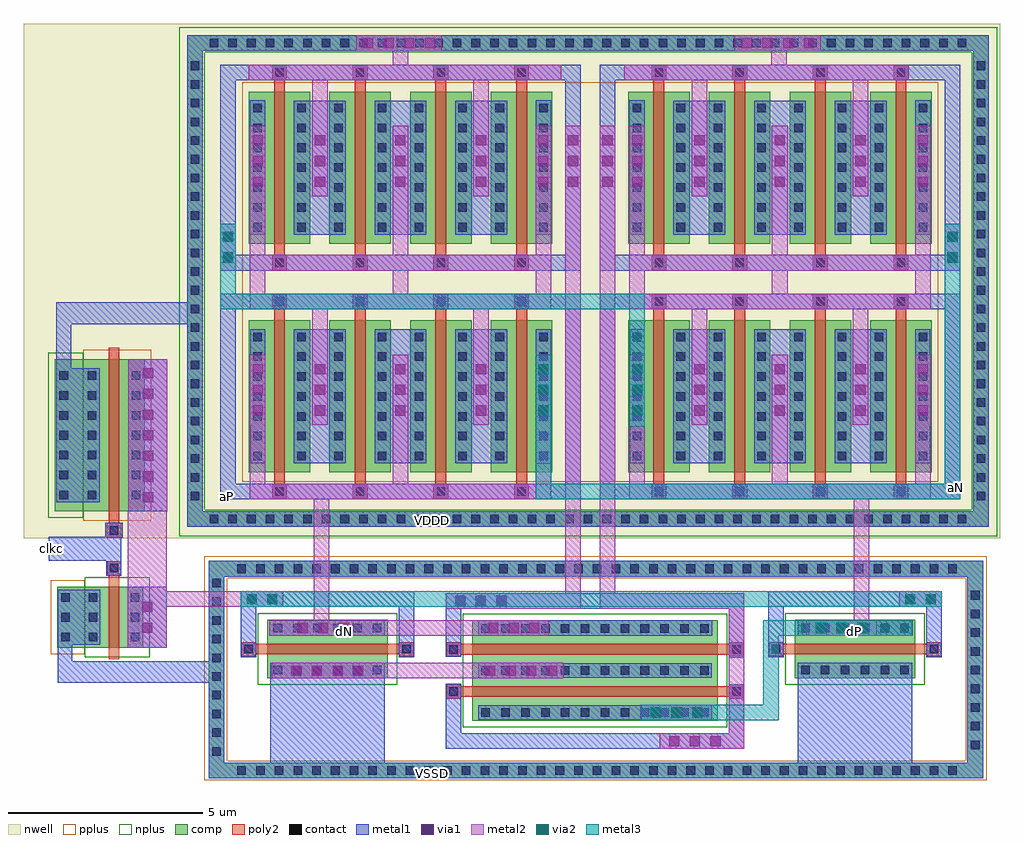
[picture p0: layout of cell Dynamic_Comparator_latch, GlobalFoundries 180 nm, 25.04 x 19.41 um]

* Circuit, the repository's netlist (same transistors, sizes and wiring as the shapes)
** sch_path: /home/gmaranhao/Desktop/Juan_bracolin/PICO_contest/Dynamic_Comparator/xschem/Dynamic_Comparator_latch.sch
.subckt Dynamic_Comparator_latch VDDD VSSD dN clkc dP aP aN
*.PININFO VDDD:B VSSD:B clkc:I aP:I aN:I dN:B dP:B
M5[1] X dP VDDD VDDD pfet_03v3 L=0.28u W=3.9u nf=1 m=1
M5[2] X dP VDDD VDDD pfet_03v3 L=0.28u W=3.9u nf=1 m=1
M5[3] X dP VDDD VDDD pfet_03v3 L=0.28u W=3.9u nf=1 m=1
M5[4] X dP VDDD VDDD pfet_03v3 L=0.28u W=3.9u nf=1 m=1
M6[1] Y dN VDDD VDDD pfet_03v3 L=0.28u W=3.9u nf=1 m=1
M6[2] Y dN VDDD VDDD pfet_03v3 L=0.28u W=3.9u nf=1 m=1
M6[3] Y dN VDDD VDDD pfet_03v3 L=0.28u W=3.9u nf=1 m=1
M6[4] Y dN VDDD VDDD pfet_03v3 L=0.28u W=3.9u nf=1 m=1
M7[1] dN aP X VDDD pfet_03v3 L=0.28u W=3.9u nf=1 m=1
M7[2] dN aP X VDDD pfet_03v3 L=0.28u W=3.9u nf=1 m=1
M7[3] dN aP X VDDD pfet_03v3 L=0.28u W=3.9u nf=1 m=1
M7[4] dN aP X VDDD pfet_03v3 L=0.28u W=3.9u nf=1 m=1
M8[1] dP aN Y VDDD pfet_03v3 L=0.28u W=3.9u nf=1 m=1
M8[2] dP aN Y VDDD pfet_03v3 L=0.28u W=3.9u nf=1 m=1
M8[3] dP aN Y VDDD pfet_03v3 L=0.28u W=3.9u nf=1 m=1
M8[4] dP aN Y VDDD pfet_03v3 L=0.28u W=3.9u nf=1 m=1
M9 dN dP VSSD VSSD nfet_03v3 L=0.28u W=6.3u nf=1 m=1
M10 dP dN VSSD VSSD nfet_03v3 L=0.28u W=6.3u nf=1 m=1
M11 dN n_clkc VSSD VSSD nfet_03v3 L=0.28u W=3.1u nf=1 m=1
M12 dP n_clkc VSSD VSSD nfet_03v3 L=0.28u W=3.1u nf=1 m=1
x1 VDDD VSSD n_clkc clkc Dynamic_Comparator_inv_1x
.ends

* expanding   symbol:  PICO_contest/Dynamic_Comparator/xschem/Dynamic_Comparator_inv_1x.sym # of pins=4
** sym_path: /home/gmaranhao/Desktop/Juan_bracolin/PICO_contest/Dynamic_Comparator/xschem/Dynamic_Comparator_inv_1x.sym
** sch_path: /home/gmaranhao/Desktop/Juan_bracolin/PICO_contest/Dynamic_Comparator/xschem/Dynamic_Comparator_inv_1x.sch
.subckt Dynamic_Comparator_inv_1x VDDD VSSD OUT IN
*.PININFO VDDD:B VSSD:B IN:I OUT:B
M1 OUT IN VSSD VSSD nfet_03v3 L=0.28u W=1.56u nf=1 m=1
M2 OUT IN VDDD VDDD pfet_03v3 L=0.28u W=3.9u nf=1 m=1
.ends

.end

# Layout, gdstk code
from math import pi, radians
import gdstk
lib = gdstk.Library(unit=1e-6, precision=1e-09)
def R(c, l, rs):  # rectangles x0, y0, x1, y1
    for r in rs: c.add(gdstk.rectangle(r[:2], r[2:], *l))
def A(c, l, x, y, w, h, nx, ny, dx, dy):  # array of equal rectangles
    R(c, l, [(x+i*dx, y+j*dy, x+i*dx+w, y+j*dy+h) for i in range(nx) for j in range(ny)])
nwell = (21, 0)
comp = (22, 0)
poly2 = (30, 0)
pplus = (31, 0)
nplus = (32, 0)
contact = (33, 0)
metal1 = (34, 0)
via1 = (35, 0)
metal2 = (36, 0)
via2 = (38, 0)
metal3 = (42, 0)

pfet = lib.new_cell('pfet')
R(pfet, nwell, [(-0.9,-0.44,1.56,4.34)])
R(pfet, comp, [(-0.46,0,0,3.9), (0,0,0.66,3.9), (0.66,0,1.12,3.9)])
R(pfet, poly2, [(0.14,-0.68,0.52,-0.3), (0.19,-0.3,0.47,4.2), (0.14,4.2,0.52,4.58)])
R(pfet, pplus, [(-0.63,-0.24,1.29,4.14)])
A(pfet, contact, -0.34, 0.31, 0.22, 0.22, 1, 7, 0, 0.51)
A(pfet, contact, 0.78, 0.31, 0.22, 0.22, 1, 7, 0, 0.51)
R(pfet, contact, [(0.22,-0.6,0.44,-0.38), (0.22,4.28,0.44,4.5)])
R(pfet, metal1, [(0.14,-0.681,0.52,-0.299), (-0.42,0.23,-0.04,3.67), (0.7,0.23,1.08,3.67), (0.14,4.199,0.52,4.581)])

via_dev_1 = lib.new_cell('via_dev$1')
R(via_dev_1, metal1, [(0,0,1.8,0.4)])
A(via_dev_1, via1, 0.24, 0.07, 0.26, 0.26, 3, 1, 0.53, 0)
R(via_dev_1, metal2, [(0,0,1.8,0.4)])

via_dev_4 = lib.new_cell('via_dev$4')
R(via_dev_4, metal1, [(0,0,1.8,0.4)])
A(via_dev_4, via1, 0.24, 0.07, 0.26, 0.26, 3, 1, 0.53, 0)
R(via_dev_4, metal2, [(0,0,1.8,0.4)])
A(via_dev_4, via2, 0.24, 0.07, 0.26, 0.26, 3, 1, 0.53, 0)
R(via_dev_4, metal3, [(0,0,1.8,0.4)])

nfet = lib.new_cell('nfet')
R(nfet, comp, [(-0.42,0,0,3.1), (0,0,0.66,3.1), (0.66,0,1.08,3.1)])
R(nfet, poly2, [(0.15,-0.66,0.51,-0.3), (0.19,-0.3,0.47,3.4), (0.15,3.4,0.51,3.76)])
R(nfet, nplus, [(-0.59,-0.24,1.25,3.34)])
A(nfet, contact, -0.32, 0.165, 0.22, 0.22, 1, 6, 0, 0.51)
A(nfet, contact, 0.76, 0.165, 0.22, 0.22, 1, 6, 0, 0.51)
R(nfet, contact, [(0.22,-0.59,0.44,-0.37), (0.22,3.47,0.44,3.69)])
R(nfet, metal1, [(0.14,-0.671,0.52,-0.289), (-0.4,0.085,-0.02,3.015), (0.68,0.085,1.06,3.015), (0.14,3.389,0.52,3.771)])

nfet_2 = lib.new_cell('nfet$2')
R(nfet_2, comp, [(-0.42,0,0,6.3), (0,0,0.66,6.3), (0.66,0,1.08,6.3)])
R(nfet_2, poly2, [(0.15,-0.66,0.51,-0.3), (0.19,-0.3,0.47,6.6), (0.15,6.6,0.51,6.96)])
R(nfet_2, nplus, [(-0.59,-0.24,1.25,6.54)])
A(nfet_2, contact, -0.32, 0.235, 0.22, 0.22, 1, 12, 0, 0.51)
A(nfet_2, contact, 0.76, 0.235, 0.22, 0.22, 1, 12, 0, 0.51)
R(nfet_2, contact, [(0.22,-0.59,0.44,-0.37), (0.22,6.67,0.44,6.89)])
R(nfet_2, metal1, [(0.14,-0.671,0.52,-0.289), (-0.4,0.155,-0.02,6.145), (0.68,0.155,1.06,6.145), (0.14,6.589,0.52,6.971)])

via_dev_2 = lib.new_cell('via_dev$2')
R(via_dev_2, metal1, [(0,0,0.4,1.8)])
A(via_dev_2, via1, 0.07, 0.24, 0.26, 0.26, 1, 3, 0, 0.53)
R(via_dev_2, metal2, [(0,0,0.4,1.8)])

via_dev_14 = lib.new_cell('via_dev$14')
R(via_dev_14, metal1, [(0,0,0.4,1.8)])
A(via_dev_14, via1, 0.07, 0.24, 0.26, 0.26, 1, 3, 0, 0.53)
R(via_dev_14, metal2, [(0,0,0.4,1.8)])
A(via_dev_14, via2, 0.07, 0.24, 0.26, 0.26, 1, 3, 0, 0.53)
R(via_dev_14, metal3, [(0,0,0.4,1.8)])

via_dev_13 = lib.new_cell('via_dev$13')
R(via_dev_13, comp, [(0,0,0.4,11.81)])
A(via_dev_13, contact, 0.09, 0.275, 0.22, 0.22, 1, 24, 0, 0.48)
R(via_dev_13, metal1, [(0,0,0.4,11.81)])

via_dev_5 = lib.new_cell('via_dev$5')
R(via_dev_5, comp, [(0,0,0.4,4.9)])
A(via_dev_5, contact, 0.09, 0.18, 0.22, 0.22, 1, 10, 0, 0.48)
R(via_dev_5, metal1, [(0,0,0.4,4.9)])

via_dev_3 = lib.new_cell('via_dev$3')
R(via_dev_3, comp, [(0,0,19,0.4)])
A(via_dev_3, contact, 0.27, 0.09, 0.22, 0.22, 39, 1, 0.48, 0)
R(via_dev_3, metal1, [(0,0,19,0.4)])

via_dev_10 = lib.new_cell('via_dev$10')
R(via_dev_10, comp, [(0,0,19.77,0.4)])
A(via_dev_10, contact, 0.175, 0.09, 0.22, 0.22, 41, 1, 0.48, 0)
R(via_dev_10, metal1, [(0,0,19.77,0.4)])

via_dev = lib.new_cell('via_dev')
R(via_dev, comp, [(0,0,0.4,4.75)])
A(via_dev, contact, 0.09, 0.345, 0.22, 0.22, 1, 9, 0, 0.48)
R(via_dev, metal1, [(0,0,0.4,4.75)])

via_dev_6 = lib.new_cell('via_dev$6')
R(via_dev_6, metal1, [(0,0,1.2,0.4)])
R(via_dev_6, via1, [(0.205,0.07,0.465,0.33), (0.735,0.07,0.995,0.33)])
R(via_dev_6, metal2, [(0,0,1.2,0.4)])
R(via_dev_6, via2, [(0.205,0.07,0.465,0.33), (0.735,0.07,0.995,0.33)])
R(via_dev_6, metal3, [(0,0,1.2,0.4)])

via_dev_8 = lib.new_cell('via_dev$8')
R(via_dev_8, metal1, [(0,0,0.4,2.2)])
A(via_dev_8, via1, 0.07, 0.175, 0.26, 0.26, 1, 4, 0, 0.53)
R(via_dev_8, metal2, [(0,0,0.4,2.2)])

pfet_1 = lib.new_cell('pfet$1')
R(pfet_1, nwell, [(-1.15,-0.69,2.54,4.59)])
R(pfet_1, comp, [(-0.46,0,0,3.9), (0,0,0.66,3.9), (0.66,0,1.12,3.9), (1.12,0,1.85,3.9)])
R(pfet_1, poly2, [(0.19,-0.3,0.47,4.2), (0.14,4.2,0.52,4.58)])
R(pfet_1, pplus, [(-0.63,-0.24,1.12,4.14)])
R(pfet_1, nplus, [(1.12,-0.17,2.02,4.07)])
A(pfet_1, contact, -0.34, 0.31, 0.22, 0.22, 1, 7, 0, 0.51)
A(pfet_1, contact, 0.78, 0.31, 0.22, 0.22, 1, 7, 0, 0.51)
A(pfet_1, contact, 1.51, 0.31, 0.22, 0.22, 1, 7, 0, 0.51)
R(pfet_1, contact, [(0.22,4.28,0.44,4.5)])
R(pfet_1, metal1, [(-0.42,0.23,-0.04,3.67), (0.7,0.23,1.08,3.67), (1.43,0.23,1.81,3.67), (0.14,4.199,0.52,4.581)])

nfet_3 = lib.new_cell('nfet$3')
R(nfet_3, comp, [(-0.42,0,0,1.56), (0,0,0.66,1.56), (0.66,0,1.08,1.56), (1.08,0,1.79,1.56)])
R(nfet_3, poly2, [(0.19,-0.3,0.47,1.86), (0.15,1.86,0.51,2.22)])
R(nfet_3, pplus, [(1.08,-0.17,1.96,1.73)])
R(nfet_3, nplus, [(-0.59,-0.24,1.08,1.8)])
A(nfet_3, contact, -0.32, 0.16, 0.22, 0.22, 1, 3, 0, 0.51)
A(nfet_3, contact, 0.76, 0.16, 0.22, 0.22, 1, 3, 0, 0.51)
A(nfet_3, contact, 1.47, 0.16, 0.22, 0.22, 1, 3, 0, 0.51)
R(nfet_3, contact, [(0.22,1.93,0.44,2.15)])
R(nfet_3, metal1, [(-0.4,0.08,-0.02,1.48), (0.68,0.08,1.06,1.48), (1.39,0.08,1.77,1.48), (0.14,1.849,0.52,2.231)])

via_dev_11 = lib.new_cell('via_dev$11')
R(via_dev_11, metal1, [(0,0,1,1.56)])
R(via_dev_11, via1, [(0.37,0.385,0.63,0.645), (0.37,0.915,0.63,1.175)])
R(via_dev_11, metal2, [(0,0,1,1.56)])

via_dev_12 = lib.new_cell('via_dev$12')
R(via_dev_12, metal1, [(0,0,1,3.9)])
A(via_dev_12, via1, 0.37, 0.23, 0.26, 0.26, 1, 7, 0, 0.53)
R(via_dev_12, metal2, [(0,0,1,3.9)])

dynamic_comparator_inv_1 = lib.new_cell('Dynamic_Comparator_inv_1x')
R(dynamic_comparator_inv_1, metal1, [(-0.77,-3.6,3.22,-3.05), (-0.77,-3.1,-0.4,-2.6), (-0.5,-2.62,0.05,-1.22), (0.475,-0.855,0.86,-0.47), (0.48,-0.6,0.86,0.21), (-1,-0.47,0.86,0.14), (0.45,0.12,0.89,0.51), (-0.48,1.03,0.01,4.47), (-0.81,4.42,-0.43,5.67), (-0.81,5.6,2.755,6.16)])
R(dynamic_comparator_inv_1, metal2, [(1.02,-1.14,2.02,0.81)])
dynamic_comparator_inv_1.add(gdstk.Reference(pfet_1, (1,4.7), rotation=pi))
dynamic_comparator_inv_1.add(gdstk.Reference(nfet_3, (1,-2.7), rotation=pi, x_reflection=True))
dynamic_comparator_inv_1.add(gdstk.Reference(via_dev_11, (1.02,-2.7)))
dynamic_comparator_inv_1.add(gdstk.Reference(via_dev_12, (1.04,0.8)))
dynamic_comparator_inv_1.add(gdstk.Label('VSSD', (0.05,-3.33), layer=34, texttype=10))

via_dev_15 = lib.new_cell('via_dev$15')
R(via_dev_15, metal1, [(0,0,0.4,1.1)])
R(via_dev_15, via1, [(0.07,0.155,0.33,0.415), (0.07,0.685,0.33,0.945)])
R(via_dev_15, metal2, [(0,0,0.4,1.1)])
R(via_dev_15, via2, [(0.07,0.155,0.33,0.415), (0.07,0.685,0.33,0.945)])
R(via_dev_15, metal3, [(0,0,0.4,1.1)])

dynamic_comparator_latch = lib.new_cell('Dynamic_Comparator_latch')
R(dynamic_comparator_latch, nwell, [(-7.215,-1.53,17.825,11.665)])
R(dynamic_comparator_latch, comp, [(-2.475,-7.69,-2.01,-7.29), (16.99,-7.69,17.39,-7.29), (16.99,-2.545,17.39,-2.115), (-2.475,-2.515,-2.01,-2.115), (-3.03,-1.235,-2.63,-0.835), (17.14,-1.235,17.54,-0.835), (-3.03,10.97,-2.63,11.37), (17.14,10.97,17.54,11.37)])
R(dynamic_comparator_latch, pplus, [(-2.585,-7.74,-2.005,-2.54), (-2.485,-7.74,17.07,-7.245), (16.94,-7.74,17.49,-2), (-2.585,-2.565,17.07,-2), (-1.62,-0.085,16.245,10.165)])
R(dynamic_comparator_latch, nplus, [(-3.23,-1.485,-2.58,11.42), (-3.12,-1.485,17.22,-0.805), (17.1,-1.485,17.76,11.25), (-3.23,10.94,17.76,11.58)])
R(dynamic_comparator_latch, metal1, [(-2.475,-7.69,-2.005,-7.29), (16.99,-7.69,17.39,-7.29), (-0.895,-7.545,2.035,-4.865), (12.64,-7.545,15.57,-4.865), (16.99,-2.54,17.39,-2.115), (-2.475,-2.515,-2.005,-2.115), (-3.03,-1.235,-2.63,-0.835), (17.14,-1.235,17.54,-0.835), (-0.11,0.385,0.85,3.825), (1.98,0.385,2.94,3.825), (4.055,0.385,5.015,3.825), (9.625,0.385,10.585,3.825), (11.715,0.385,12.675,3.825), (13.79,0.385,14.75,3.825), (-0.11,6.255,0.85,9.695), (1.98,6.255,2.94,9.695), (4.055,6.255,5.015,9.695), (9.625,6.255,10.585,9.695), (11.715,6.255,12.675,9.695), (13.79,6.255,14.75,9.695), (-3.03,10.97,-2.63,11.37), (17.14,10.97,17.54,11.37)])
R(dynamic_comparator_latch, metal2, [(-1.42,-0.535,6.31,-0.135), (8.315,-0.535,16.045,-0.135), (-1.42,4.345,6.31,4.745), (8.315,4.345,16.045,4.745), (-1.42,5.335,6.31,5.735), (8.315,5.335,16.045,5.735), (-1.445,10.215,6.565,10.615), (8.18,10.215,15.485,10.615)])
dynamic_comparator_latch.add(gdstk.FlexPath([(-0.855,10.415),(5.75,10.415)], 0.4, ends="flush", simple_path=True, layer=34, datatype=0))  # metal1
dynamic_comparator_latch.add(gdstk.FlexPath([(-0.855,5.535),(5.75,5.535)], 0.4, ends="flush", simple_path=True, layer=34, datatype=0))  # metal1
dynamic_comparator_latch.add(gdstk.FlexPath([(-0.855,4.545),(5.75,4.545)], 0.4, ends="flush", simple_path=True, layer=34, datatype=0))  # metal1
dynamic_comparator_latch.add(gdstk.FlexPath([(-0.855,-0.335),(5.75,-0.335)], 0.4, ends="flush", simple_path=True, layer=34, datatype=0))  # metal1
dynamic_comparator_latch.add(gdstk.FlexPath([(5.745,5.535),(6.87,5.535),(6.87,10.415),(5.535,10.415)], 0.4, ends="flush", simple_path=True, layer=34, datatype=0))  # metal1
dynamic_comparator_latch.add(gdstk.FlexPath([(-0.825,10.415),(-1.98,10.415),(-1.98,5.535),(-0.735,5.535)], 0.4, ends="flush", simple_path=True, layer=34, datatype=0))  # metal1
dynamic_comparator_latch.add(gdstk.FlexPath([(5.745,-0.335),(6.87,-0.335),(6.87,4.545),(5.535,4.545)], 0.4, ends="flush", simple_path=True, layer=34, datatype=0))  # metal1
dynamic_comparator_latch.add(gdstk.FlexPath([(-0.825,4.545),(-1.98,4.545),(-1.98,-0.335),(-0.735,-0.335)], 0.4, ends="flush", simple_path=True, layer=34, datatype=0))  # metal1
dynamic_comparator_latch.add(gdstk.FlexPath([(6.11,6.255),(6.11,9.7)], 0.4, ends="flush", simple_path=True, layer=34, datatype=0))  # metal1
dynamic_comparator_latch.add(gdstk.FlexPath([(-1.22,6.255),(-1.22,9.7)], 0.4, ends="flush", simple_path=True, layer=34, datatype=0))  # metal1
dynamic_comparator_latch.add(gdstk.FlexPath([(8.88,10.415),(15.485,10.415)], 0.4, ends="flush", simple_path=True, layer=34, datatype=0))  # metal1
dynamic_comparator_latch.add(gdstk.FlexPath([(8.88,5.535),(15.485,5.535)], 0.4, ends="flush", simple_path=True, layer=34, datatype=0))  # metal1
dynamic_comparator_latch.add(gdstk.FlexPath([(8.88,4.545),(15.485,4.545)], 0.4, ends="flush", simple_path=True, layer=34, datatype=0))  # metal1
dynamic_comparator_latch.add(gdstk.FlexPath([(8.88,-0.335),(15.485,-0.335)], 0.4, ends="flush", simple_path=True, layer=34, datatype=0))  # metal1
dynamic_comparator_latch.add(gdstk.FlexPath([(15.48,5.535),(16.605,5.535),(16.605,10.415),(15.27,10.415)], 0.4, ends="flush", simple_path=True, layer=34, datatype=0))  # metal1
dynamic_comparator_latch.add(gdstk.FlexPath([(8.91,10.415),(7.755,10.415),(7.755,5.535),(9,5.535)], 0.4, ends="flush", simple_path=True, layer=34, datatype=0))  # metal1
dynamic_comparator_latch.add(gdstk.FlexPath([(15.48,-0.335),(16.605,-0.335),(16.605,4.545),(15.27,4.545)], 0.4, ends="flush", simple_path=True, layer=34, datatype=0))  # metal1
dynamic_comparator_latch.add(gdstk.FlexPath([(8.91,4.545),(7.755,4.545),(7.755,-0.335),(9,-0.335)], 0.4, ends="flush", simple_path=True, layer=34, datatype=0))  # metal1
dynamic_comparator_latch.add(gdstk.FlexPath([(15.845,6.255),(15.845,9.7)], 0.4, ends="flush", simple_path=True, layer=34, datatype=0))  # metal1
dynamic_comparator_latch.add(gdstk.FlexPath([(8.515,6.255),(8.515,9.7)], 0.4, ends="flush", simple_path=True, layer=34, datatype=0))  # metal1
dynamic_comparator_latch.add(gdstk.FlexPath([(3.805,-4.575),(3.805,-3.14),(6.86,-3.14),(11.065,-3.14),(11.065,-4.595)], 0.4, ends="flush", simple_path=True, layer=34, datatype=0))  # metal1
dynamic_comparator_latch.add(gdstk.FlexPath([(3.805,-5.27),(3.805,-6.74),(11.065,-6.74),(11.065,-5.275)], 0.4, ends="flush", simple_path=True, layer=34, datatype=0))  # metal1
dynamic_comparator_latch.add(gdstk.FlexPath([(4.45,-3.835),(10.44,-3.835)], 0.4, ends="flush", simple_path=True, layer=34, datatype=0))  # metal1
dynamic_comparator_latch.add(gdstk.FlexPath([(2.025,-3.835),(-0.925,-3.835)], 0.4, ends="flush", simple_path=True, layer=34, datatype=0))  # metal1
dynamic_comparator_latch.add(gdstk.FlexPath([(15.58,-3.835),(12.63,-3.835)], 0.4, ends="flush", simple_path=True, layer=34, datatype=0))  # metal1
dynamic_comparator_latch.add(gdstk.FlexPath([(-1.46,-4.59),(-1.46,-3.095),(2.6,-3.095),(2.6,-4.59)], 0.4, ends="flush", simple_path=True, layer=34, datatype=0))  # metal1
dynamic_comparator_latch.add(gdstk.FlexPath([(12.075,-4.59),(12.075,-3.095),(16.135,-3.095),(16.135,-4.59)], 0.4, ends="flush", simple_path=True, layer=34, datatype=0))  # metal1
dynamic_comparator_latch.add(gdstk.FlexPath([(6.11,0.38),(6.11,3.83)], 0.4, ends="flush", simple_path=True, layer=34, datatype=0))  # metal1
dynamic_comparator_latch.add(gdstk.FlexPath([(-1.22,8.335),(-1.22,4.565)], 0.4, ends="flush", simple_path=True, layer=36, datatype=0))  # metal2
dynamic_comparator_latch.add(gdstk.FlexPath([(2.44,8.335),(2.44,4.545)], 0.4, ends="flush", simple_path=True, layer=36, datatype=0))  # metal2
dynamic_comparator_latch.add(gdstk.FlexPath([(6.11,8.335),(6.11,4.495)], 0.4, ends="flush", simple_path=True, layer=36, datatype=0))  # metal2
dynamic_comparator_latch.add(gdstk.FlexPath([(0.38,10.55),(0.38,7.685)], 0.4, ends="flush", simple_path=True, layer=36, datatype=0))  # metal2
dynamic_comparator_latch.add(gdstk.FlexPath([(4.51,10.55),(4.51,7.685)], 0.4, ends="flush", simple_path=True, layer=36, datatype=0))  # metal2
dynamic_comparator_latch.add(gdstk.FlexPath([(-1.22,2.465),(-1.22,-0.4)], 0.4, ends="flush", simple_path=True, layer=36, datatype=0))  # metal2
dynamic_comparator_latch.add(gdstk.FlexPath([(2.44,2.465),(2.44,-0.4)], 0.4, ends="flush", simple_path=True, layer=36, datatype=0))  # metal2
dynamic_comparator_latch.add(gdstk.FlexPath([(6.11,2.465),(6.11,-0.4)], 0.4, ends="flush", simple_path=True, layer=36, datatype=0))  # metal2
dynamic_comparator_latch.add(gdstk.FlexPath([(0.38,4.68),(0.38,1.815)], 0.4, ends="flush", simple_path=True, layer=36, datatype=0))  # metal2
dynamic_comparator_latch.add(gdstk.FlexPath([(4.51,4.68),(4.51,1.815)], 0.4, ends="flush", simple_path=True, layer=36, datatype=0))  # metal2
dynamic_comparator_latch.add(gdstk.FlexPath([(8.515,8.335),(8.515,4.565)], 0.4, ends="flush", simple_path=True, layer=36, datatype=0))  # metal2
dynamic_comparator_latch.add(gdstk.FlexPath([(12.175,8.335),(12.175,4.545)], 0.4, ends="flush", simple_path=True, layer=36, datatype=0))  # metal2
dynamic_comparator_latch.add(gdstk.FlexPath([(15.845,8.335),(15.845,4.545)], 0.4, ends="flush", simple_path=True, layer=36, datatype=0))  # metal2
dynamic_comparator_latch.add(gdstk.FlexPath([(10.115,10.55),(10.115,7.685)], 0.4, ends="flush", simple_path=True, layer=36, datatype=0))  # metal2
dynamic_comparator_latch.add(gdstk.FlexPath([(14.245,10.55),(14.245,7.685)], 0.4, ends="flush", simple_path=True, layer=36, datatype=0))  # metal2
dynamic_comparator_latch.add(gdstk.FlexPath([(8.515,2.465),(8.515,-0.4)], 0.4, ends="flush", simple_path=True, layer=36, datatype=0))  # metal2
dynamic_comparator_latch.add(gdstk.FlexPath([(12.175,2.465),(12.175,-0.4)], 0.4, ends="flush", simple_path=True, layer=36, datatype=0))  # metal2
dynamic_comparator_latch.add(gdstk.FlexPath([(15.845,2.465),(15.845,-0.4)], 0.4, ends="flush", simple_path=True, layer=36, datatype=0))  # metal2
dynamic_comparator_latch.add(gdstk.FlexPath([(10.115,4.68),(10.115,1.815)], 0.4, ends="flush", simple_path=True, layer=36, datatype=0))  # metal2
dynamic_comparator_latch.add(gdstk.FlexPath([(14.245,4.68),(14.245,1.815)], 0.4, ends="flush", simple_path=True, layer=36, datatype=0))  # metal2
dynamic_comparator_latch.add(gdstk.FlexPath([(6.87,8.185),(6.87,-3.34)], 0.4, ends="flush", simple_path=True, layer=36, datatype=0))  # metal2
dynamic_comparator_latch.add(gdstk.FlexPath([(7.755,8.335),(7.755,-3.29)], 0.4, ends="flush", simple_path=True, layer=36, datatype=0))  # metal2
dynamic_comparator_latch.add(gdstk.FlexPath([(6.87,-3.14),(4.615,-3.14)], 0.4, ends="flush", simple_path=True, layer=36, datatype=0))  # metal2
dynamic_comparator_latch.add(gdstk.FlexPath([(11.065,-6.94),(11.065,-3.14),(7.555,-3.14)], 0.4, ends="flush", simple_path=True, layer=36, datatype=0))  # metal2
dynamic_comparator_latch.add(gdstk.FlexPath([(6.17,-3.835),(-0.925,-3.835)], 0.4, ends="flush", simple_path=True, layer=36, datatype=0))  # metal2
dynamic_comparator_latch.add(gdstk.FlexPath([(-1.145,-3.095),(-4.19,-3.095)], 0.4, ends="flush", simple_path=True, layer=36, datatype=0))  # metal2
dynamic_comparator_latch.add(gdstk.FlexPath([(0.415,-0.285),(0.415,-3.855)], 0.4, ends="flush", simple_path=True, layer=36, datatype=0))  # metal2
dynamic_comparator_latch.add(gdstk.FlexPath([(14.275,-0.285),(14.275,-3.855)], 0.4, ends="flush", simple_path=True, layer=36, datatype=0))  # metal2
dynamic_comparator_latch.add(gdstk.FlexPath([(2.44,10.39),(2.44,11.19)], 0.4, ends="flush", simple_path=True, layer=36, datatype=0))  # metal2
dynamic_comparator_latch.add(gdstk.FlexPath([(12.16,10.39),(12.16,11.19)], 0.4, ends="flush", simple_path=True, layer=36, datatype=0))  # metal2
dynamic_comparator_latch.add(gdstk.FlexPath([(4.74,-4.93),(-0.855,-4.93),(-0.855,-4.93)], 0.4, ends="flush", simple_path=True, layer=36, datatype=0))  # metal2
dynamic_comparator_latch.add(gdstk.FlexPath([(16.605,5.88),(16.605,-0.335),(6.065,-0.335)], 0.4, ends="flush", simple_path=True, layer=42, datatype=0))  # metal3
dynamic_comparator_latch.add(gdstk.FlexPath([(6.11,-0.535),(6.11,3.175)], 0.4, ends="flush", simple_path=True, layer=42, datatype=0))  # metal3
dynamic_comparator_latch.add(gdstk.FlexPath([(-1.98,5.905),(-1.98,4.545),(8.515,4.545),(8.515,1.33)], 0.4, ends="flush", simple_path=True, layer=42, datatype=0))  # metal3
dynamic_comparator_latch.add(gdstk.FlexPath([(8.6,-6.005),(11.955,-6.005),(11.955,-3.835),(15.585,-3.835)], 0.4, ends="flush", simple_path=True, layer=42, datatype=0))  # metal3
dynamic_comparator_latch.add(gdstk.FlexPath([(15.81,-3.095),(-1.275,-3.095)], 0.4, ends="flush", simple_path=True, layer=42, datatype=0))  # metal3
dynamic_comparator_latch.add(gdstk.Reference(pfet, (-0.99,0.155)))
dynamic_comparator_latch.add(gdstk.Reference(pfet, (3.15,0.155)))
dynamic_comparator_latch.add(gdstk.Reference(pfet, (5.22,0.155)))
dynamic_comparator_latch.add(gdstk.Reference(pfet, (-0.99,6.025)))
dynamic_comparator_latch.add(gdstk.Reference(pfet, (3.15,6.025)))
dynamic_comparator_latch.add(gdstk.Reference(pfet, (5.22,6.025)))
dynamic_comparator_latch.add(gdstk.Reference(pfet, (1.08,6.025)))
dynamic_comparator_latch.add(gdstk.Reference(pfet, (1.08,0.155)))
dynamic_comparator_latch.add(gdstk.Reference(via_dev_1, (-1.02,7.245), rotation=pi/2))
dynamic_comparator_latch.add(gdstk.Reference(via_dev_1, (0.58,7.245), rotation=pi/2))
dynamic_comparator_latch.add(gdstk.Reference(via_dev_1, (2.64,7.245), rotation=pi/2))
dynamic_comparator_latch.add(gdstk.Reference(via_dev_1, (4.71,7.245), rotation=pi/2))
dynamic_comparator_latch.add(gdstk.Reference(via_dev_1, (6.31,7.245), rotation=pi/2))
dynamic_comparator_latch.add(gdstk.Reference(via_dev_1, (-1.02,1.375), rotation=pi/2))
dynamic_comparator_latch.add(gdstk.Reference(via_dev_1, (0.58,1.375), rotation=pi/2))
dynamic_comparator_latch.add(gdstk.Reference(via_dev_1, (2.64,1.375), rotation=pi/2))
dynamic_comparator_latch.add(gdstk.Reference(via_dev_1, (4.71,1.375), rotation=pi/2))
dynamic_comparator_latch.add(gdstk.Reference(via_dev_4, (6.31,1.375), rotation=pi/2))
dynamic_comparator_latch.add(gdstk.Reference(pfet, (8.745,0.155)))
dynamic_comparator_latch.add(gdstk.Reference(pfet, (12.885,0.155)))
dynamic_comparator_latch.add(gdstk.Reference(pfet, (14.955,0.155)))
dynamic_comparator_latch.add(gdstk.Reference(pfet, (8.745,6.025)))
dynamic_comparator_latch.add(gdstk.Reference(pfet, (12.885,6.025)))
dynamic_comparator_latch.add(gdstk.Reference(pfet, (14.955,6.025)))
dynamic_comparator_latch.add(gdstk.Reference(pfet, (10.815,6.025)))
dynamic_comparator_latch.add(gdstk.Reference(pfet, (10.815,0.155)))
dynamic_comparator_latch.add(gdstk.Reference(via_dev_1, (8.715,7.245), rotation=pi/2))
dynamic_comparator_latch.add(gdstk.Reference(via_dev_1, (10.315,7.245), rotation=pi/2))
dynamic_comparator_latch.add(gdstk.Reference(via_dev_1, (12.375,7.245), rotation=pi/2))
dynamic_comparator_latch.add(gdstk.Reference(via_dev_1, (14.445,7.245), rotation=pi/2))
dynamic_comparator_latch.add(gdstk.Reference(via_dev_1, (16.045,7.245), rotation=pi/2))
dynamic_comparator_latch.add(gdstk.Reference(via_dev_4, (8.715,1.375), rotation=pi/2))
dynamic_comparator_latch.add(gdstk.Reference(via_dev_1, (10.315,1.375), rotation=pi/2))
dynamic_comparator_latch.add(gdstk.Reference(via_dev_1, (12.375,1.375), rotation=pi/2))
dynamic_comparator_latch.add(gdstk.Reference(via_dev_1, (14.445,1.375), rotation=pi/2))
dynamic_comparator_latch.add(gdstk.Reference(via_dev_1, (16.045,1.375), rotation=pi/2))
dynamic_comparator_latch.add(gdstk.Reference(nfet, (2.12,-4.705), rotation=pi/2))
dynamic_comparator_latch.add(gdstk.Reference(nfet_2, (10.585,-5.795), rotation=pi/2))
dynamic_comparator_latch.add(gdstk.Reference(nfet, (15.655,-4.705), rotation=pi/2))
dynamic_comparator_latch.add(gdstk.Reference(via_dev_1, (7.07,7.245), rotation=pi/2))
dynamic_comparator_latch.add(gdstk.Reference(via_dev_1, (7.955,7.245), rotation=pi/2))
dynamic_comparator_latch.add(gdstk.Reference(via_dev_2, (10.895,-6.94), rotation=pi/2))
dynamic_comparator_latch.add(gdstk.Reference(via_dev_2, (5.405,-3.34), rotation=pi/2))
dynamic_comparator_latch.add(gdstk.Reference(via_dev_2, (6.25,-4.035), rotation=pi/2))
dynamic_comparator_latch.add(gdstk.Reference(via_dev_2, (1.365,-4.035), rotation=pi/2))
dynamic_comparator_latch.add(gdstk.Reference(via_dev_14, (10.425,-6.205), rotation=pi/2))
dynamic_comparator_latch.add(gdstk.Reference(via_dev_14, (14.66,-4.035), rotation=pi/2))
dynamic_comparator_latch.add(gdstk.Reference(via_dev_13, (-3.03,-0.835)))
dynamic_comparator_latch.add(gdstk.Reference(via_dev_13, (17.14,-0.835)))
dynamic_comparator_latch.add(gdstk.Reference(nfet_2, (10.585,-4.715), rotation=pi/2))
dynamic_comparator_latch.add(gdstk.Reference(via_dev_5, (-2.475,-7.29)))
dynamic_comparator_latch.add(gdstk.Reference(via_dev_3, (-2.01,-2.515)))
dynamic_comparator_latch.add(gdstk.Reference(via_dev_10, (-2.63,-1.235)))
dynamic_comparator_latch.add(gdstk.Reference(via_dev_10, (-2.63,10.97)))
dynamic_comparator_latch.add(gdstk.Reference(via_dev, (16.99,-7.29)))
dynamic_comparator_latch.add(gdstk.Reference(via_dev_3, (-2.01,-7.69)))
dynamic_comparator_latch.add(gdstk.Reference(via_dev_6, (16.805,5.335), rotation=pi/2))
dynamic_comparator_latch.add(gdstk.Reference(via_dev_6, (-1.78,5.335), rotation=pi/2))
dynamic_comparator_latch.add(gdstk.Reference(via_dev_8, (3.505,10.97), rotation=pi/2))
dynamic_comparator_latch.add(gdstk.Reference(via_dev_8, (13.225,10.97), rotation=pi/2))
dynamic_comparator_latch.add(gdstk.Reference(via_dev_8, (6.635,-5.13), rotation=pi/2))
dynamic_comparator_latch.add(gdstk.Reference(via_dev_8, (1.665,-5.13), rotation=pi/2))
dynamic_comparator_latch.add(gdstk.Reference(dynamic_comparator_inv_1, (-5.575,-1.64)))
dynamic_comparator_latch.add(gdstk.Reference(via_dev_15, (16.335,-3.295), rotation=pi/2))
dynamic_comparator_latch.add(gdstk.Reference(via_dev_15, (-0.56,-3.295), rotation=pi/2))
dynamic_comparator_latch.add(gdstk.Label('VDDD', (3.27,-1.07), layer=34, texttype=10))
dynamic_comparator_latch.add(gdstk.Label('VSSD', (3.27,-7.56), layer=34, texttype=10))
dynamic_comparator_latch.add(gdstk.Label('clkc', (-6.5,-1.795), layer=34, texttype=10))
dynamic_comparator_latch.add(gdstk.Label('aP', (-2.025,-0.455), layer=34, texttype=10))
dynamic_comparator_latch.add(gdstk.Label('aN', (16.675,-0.23), layer=34, texttype=10))
dynamic_comparator_latch.add(gdstk.Label('dP', (14.085,-3.93), layer=34, texttype=10))
dynamic_comparator_latch.add(gdstk.Label('dN', (1.015,-3.93), layer=34, texttype=10))

lib.write_gds('Dynamic_Comparator_latch.gds')
